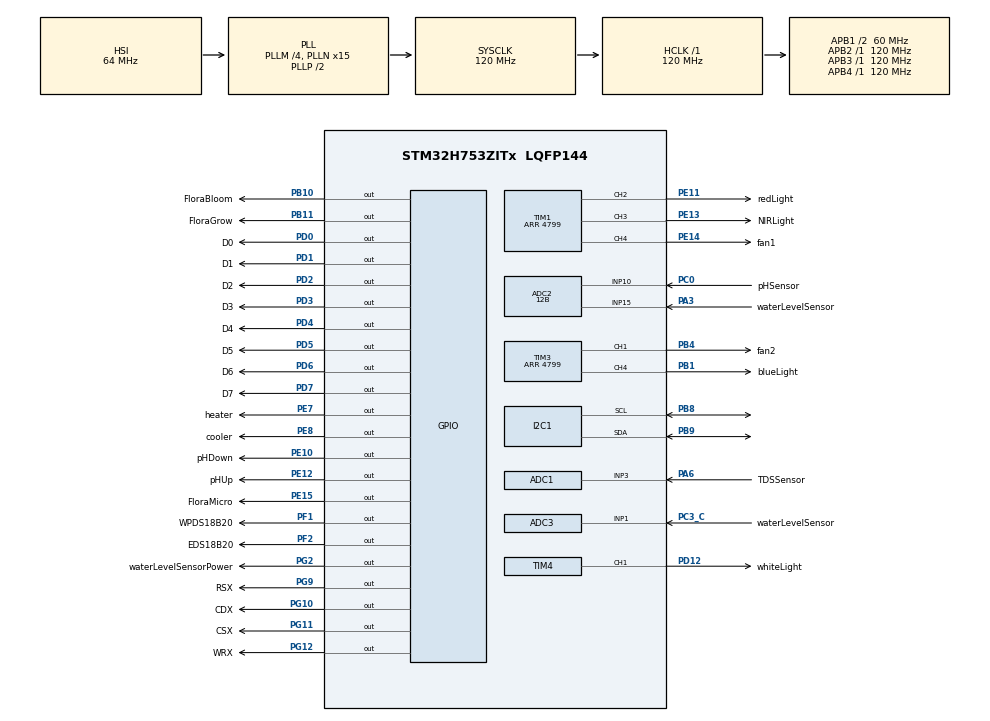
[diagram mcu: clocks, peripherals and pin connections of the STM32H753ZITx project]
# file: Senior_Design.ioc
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ADC1.Channel-1\#ChannelRegularConversion=ADC_CHANNEL_3
ADC1.ClockPrescaler=ADC_CLOCK_ASYNC_DIV4
ADC1.ClockPrescalerADC3=ADC_CLOCK_ASYNC_DIV4
ADC1.NbrOfConversionFlag=1
ADC1.OffsetNumber-1\#ChannelRegularConversion=ADC_OFFSET_NONE
ADC1.OffsetSignedSaturation-1\#ChannelRegularConversion=DISABLE
ADC1.Rank-1\#ChannelRegularConversion=1
ADC1.Resolution=ADC_RESOLUTION_12B
ADC1.SamplingTime-1\#ChannelRegularConversion=ADC_SAMPLETIME_1CYCLE_5
ADC1.master=1
ADC2.Channel-6\#ChannelRegularConversion=ADC_CHANNEL_10
ADC2.ClockPrescaler=ADC_CLOCK_ASYNC_DIV4
ADC2.ClockPrescalerADC3=ADC_CLOCK_ASYNC_DIV4
ADC2.NbrOfConversionFlag=1
ADC2.OffsetNumber-6\#ChannelRegularConversion=ADC_OFFSET_NONE
ADC2.OffsetSignedSaturation-6\#ChannelRegularConversion=DISABLE
ADC2.Rank-6\#ChannelRegularConversion=1
ADC2.Resolution=ADC_RESOLUTION_12B
ADC2.SamplingTime-6\#ChannelRegularConversion=ADC_SAMPLETIME_1CYCLE_5
ADC3.Channel-1\#ChannelRegularConversion=ADC_CHANNEL_1
ADC3.ClockPrescalerADC3=ADC_CLOCK_ASYNC_DIV4
ADC3.NbrOfConversionFlag=1
ADC3.OffsetNumber-1\#ChannelRegularConversion=ADC_OFFSET_NONE
ADC3.OffsetSignedSaturation-1\#ChannelRegularConversion=DISABLE
ADC3.Rank-1\#ChannelRegularConversion=1
ADC3.SamplingTime-1\#ChannelRegularConversion=ADC_SAMPLETIME_1CYCLE_5
CORTEX_M7.CPU_DCache=Disabled
CORTEX_M7.CPU_ICache=Disabled
CORTEX_M7.MPU_Control=__NULL
CORTEX_M7.default_mode_Activation=1
I2C1.Timing=0x107075B0
Mcu.Family=STM32H7
Mcu.Name=STM32H753ZITx
Mcu.Package=LQFP144
NUCLEO-H753ZI.BUTTON=1
NUCLEO-H753ZI.LD1=true
NUCLEO-H753ZI.LD2=true
NUCLEO-H753ZI.LD3=true
NUCLEO-H753ZI.VCP=true
NVIC.EXTI15_10_IRQn=true\:0\:0\:false\:false\:true\:false\:true\:true
NVIC.PriorityGroup=NVIC_PRIORITYGROUP_4
PA3.GPIO_Label=waterLevelSensor
PA3.Signal=ADCx_INP15
PA6.GPIO_Label=TDSSensor
PA6.Signal=ADCx_INP3
PB1.GPIO_Label=blueLight
PB1.Signal=S_TIM3_CH4
PB10.GPIO_Label=FloraBloom
PB10.Signal=GPIO_Output
PB11.GPIO_Label=FloraGrow
PB11.Signal=GPIO_Output
PB4\ (NJTRST).GPIO_Label=fan2
PB4\ (NJTRST).GPIO_ModeDefaultPP=GPIO_MODE_AF_OD
PB4\ (NJTRST).GPIO_PuPd=GPIO_PULLDOWN
PB4\ (NJTRST).Signal=S_TIM3_CH1
PB8.Mode=I2C
PB8.Signal=I2C1_SCL
PB9.Mode=I2C
PB9.Signal=I2C1_SDA
PC0.GPIO_Label=pHSensor
PC0.Signal=ADCx_INP10
PC14-OSC32_IN\ (OSC32_IN).Signal=RCC_OSC32_IN
PC15-OSC32_OUT\ (OSC32_OUT).Signal=RCC_OSC32_OUT
PC3_C.GPIO_Label=waterLevelSensor
PC3_C.Mode=IN1-Single-Ended
PC3_C.Signal=ADC3_INP1
PG9.GPIO_Label=RSX
PG9.Signal=GPIO_Output
PG10.GPIO_Label=CDX
PG10.Signal=GPIO_Output
PG11.GPIO_Label=CSX
PG11.Signal=GPIO_Output
PG12.GPIO_Label=WRX
PG12.Signal=GPIO_Output
PD0.GPIO_Label=D0
PD0.Signal=GPIO_Output
PD1.GPIO_Label=D1
PD1.Signal=GPIO_Output
PD12.GPIO_Label=whiteLight
PD12.Signal=S_TIM4_CH1
PD2.GPIO_Label=D2
PD2.Signal=GPIO_Output
PD3.GPIO_Label=D3
PD3.Signal=GPIO_Output
PD4.GPIO_Label=D4
PD4.Signal=GPIO_Output
PD5.GPIO_Label=D5
PD5.Signal=GPIO_Output
PD6.GPIO_Label=D6
PD6.Signal=GPIO_Output
PD7.GPIO_Label=D7
PD7.Signal=GPIO_Output
PD8.Signal=USART3_TX
PD9.Signal=USART3_RX
PE10.GPIO_Label=pHDown
PE10.Signal=GPIO_Output
PE11.GPIO_Label=redLight
PE11.Signal=S_TIM1_CH2
PE12.GPIO_Label=pHUp
PE12.Signal=GPIO_Output
PE13.GPIO_Label=NIRLight
PE13.Signal=S_TIM1_CH3
PE14.GPIO_Label=fan1
PE14.GPIO_ModeDefaultPP=GPIO_MODE_AF_OD
PE14.GPIO_PuPd=GPIO_PULLDOWN
PE14.Signal=S_TIM1_CH4
PE15.GPIO_Label=FloraMicro
PE15.Signal=GPIO_Output
PE7.GPIO_Label=heater
PE7.Signal=GPIO_Output
PE8.GPIO_Label=cooler
PE8.Signal=GPIO_Output
PF1.GPIO_Label=WPDS18B20
PF1.Signal=GPIO_Output
PF2.GPIO_Label=EDS18B20
PF2.Signal=GPIO_Output
PG2.GPIO_Label=waterLevelSensorPower
PG2.Signal=GPIO_Output
PH0-OSC_IN\ (PH0).Signal=RCC_OSC_IN
PH1-OSC_OUT\ (PH1).Signal=RCC_OSC_OUT
ProjectManager.HeapSize=0x200
ProjectManager.StackSize=0x400
ProjectManager.TargetToolchain=Makefile
RCC.ADCFreq_Value=80000000
RCC.APB1Freq_Value=60000000
RCC.APB2Freq_Value=120000000
RCC.APB3Freq_Value=120000000
RCC.APB4Freq_Value=120000000
RCC.CortexFreq_Value=120000000
RCC.D2PPRE1=RCC_APB1_DIV2
RCC.DIVM1=4
RCC.DIVM2=4
RCC.DIVN1=15
RCC.DIVN2=10
RCC.DIVQ1=4
RCC.HCLKFreq_Value=120000000
RCC.HSE_VALUE=8000000
RCC.PLL2FRACN=0
RCC.PLL3FRACN=0
RCC.PLLFRACN=0
RCC.PWR_Regulator_Voltage_Scale=PWR_REGULATOR_VOLTAGE_SCALE2
RCC.SYSCLKFreq_VALUE=120000000
RCC.SYSCLKSource=RCC_SYSCLKSOURCE_PLLCLK
RCC.USBFreq_Value=60000000
SH.ADCx_INP10.0=ADC2_INP10,IN10-Single-Ended
SH.ADCx_INP15.0=ADC2_INP15,IN15-Single-Ended
SH.ADCx_INP3.0=ADC1_INP3,IN3-Single-Ended
SH.S_TIM1_CH2.0=TIM1_CH2,PWM Generation2 CH2
SH.S_TIM1_CH3.0=TIM1_CH3,PWM Generation3 CH3
SH.S_TIM1_CH4.0=TIM1_CH4,PWM Generation4 CH4
SH.S_TIM3_CH1.0=TIM3_CH1,PWM Generation1 CH1
SH.S_TIM3_CH4.0=TIM3_CH4,PWM Generation4 CH4
SH.S_TIM4_CH1.0=TIM4_CH1,PWM Generation1 CH1
TIM1.Channel-PWM\ Generation2\ CH2=TIM_CHANNEL_2
TIM1.Channel-PWM\ Generation3\ CH3=TIM_CHANNEL_3
TIM1.Channel-PWM\ Generation4\ CH4=TIM_CHANNEL_4
TIM1.Period=4799
TIM2.Period=0xFFFFFFFF
TIM2.Prescaler=119
TIM3.Channel-PWM\ Generation1\ CH1=TIM_CHANNEL_1
TIM3.Channel-PWM\ Generation4\ CH4=TIM_CHANNEL_4
TIM3.Period=4799
TIM4.Channel-PWM\ Generation1\ CH1=TIM_CHANNEL_1
TIM4.Period=4799
VP_MEMORYMAP_VS_MEMORYMAP.Mode=CurAppReg
VP_NUCLEO-H753ZI_VS_BSP_COMMON.Mode=COMMON
VP_TIM1_VS_ClockSourceINT.Mode=Internal
VP_TIM2_VS_ClockSourceINT.Mode=Internal
VP_TIM3_VS_ClockSourceINT.Mode=Internal
board=NUCLEO-H753ZI

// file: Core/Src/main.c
/* USER CODE BEGIN Header */
/**
 ******************************************************************************
 * @file           : main.c
 * @brief          : Main program body
 ******************************************************************************
 * @attention
 *
 * Copyright (c) 2026 STMicroelectronics.
 * All rights reserved.
 *
 * This software is licensed under terms that can be found in the LICENSE file
 * in the root directory of this software component.
 * If no LICENSE file comes with this software, it is provided AS-IS.
 *
 ******************************************************************************
 */
/* USER CODE END Header */
#include "main.h"

/* USER CODE BEGIN Includes */
#include "DS18B20.h"
#include "DS3231s.h"
#include "GUI.h"
#include "NutrientDose.h"
#include "PHDose.h"
#include "PeristalticPump.h"
#include "TDS_Sensor_Driver.h"
#include "climateControl.h"
#include "fans.h"
#include "growControl.h"
#include "homeScreen.h"
#include "lights.h"
#include "pH_Sensor_Driver.h"
#include "plantPersist.h"
#include "plantProfiles.h"
#include "plantSelectionScreen.h"
#include "settingsScreen.h"
#include "src/misc/lv_timer.h"
#include "src/widgets/label/lv_label.h"
#include "stm32h753xx.h"
#include "stm32h7xx.h"
#include "stm32h7xx_hal.h"
#include "stm32h7xx_hal_adc.h"
#include "stm32h7xx_hal_def.h"
#include "stm32h7xx_hal_gpio.h"
#include "stm32h7xx_hal_tim.h"
#include "waterLevelSensor.h"
#include <stdint.h>
#include <stdio.h>
#include <stdlib.h>

/* USER CODE END Includes */

/* USER CODE BEGIN PD */
#define USING_SCREEN 0
#define USING_DEBUG 1
/* USER CODE END PD */

COM_InitTypeDef BspCOMInit;
ADC_HandleTypeDef hadc1;
ADC_HandleTypeDef hadc2;
ADC_HandleTypeDef hadc3;

I2C_HandleTypeDef hi2c1;

TIM_HandleTypeDef htim1;
TIM_HandleTypeDef htim2;
TIM_HandleTypeDef htim3;
TIM_HandleTypeDef htim4;

/* USER CODE BEGIN PV */
struct RTC_DS3231s clock = {0};
struct DS18B20 waterTempSensor = {0};
struct DS18B20 enclosureTempSensor = {0};
struct DS18B20_Async asyncWaterSensor = {0};
struct DS18B20_Async asyncEnclosureSensor = {0};
struct fan fan0 = {0};
struct fan fan1 = {0};
struct maintainableDevices devices = {0};
struct TDS TDSSensor = {0};
struct pH PHSensor = {0};
struct Pump pump = {0};
struct waterLevelSensor waterLevelSensor = {0};
struct cooler cooler = {0};
/* USER CODE END PV */

void SystemClock_Config(void);
void PeriphCommonClock_Config(void);
static void MX_GPIO_Init(void);
static void MX_ADC1_Init(void);
static void MX_I2C1_Init(void);
static void MX_TIM2_Init(void);
static void MX_TIM1_Init(void);
static void MX_ADC2_Init(void);
static void MX_ADC3_Init(void);
static void MX_TIM3_Init(void);
static void MX_TIM4_Init(void);

/* USER CODE BEGIN 0 */

void enclosureTempRegulationDemo(struct DS18B20 sensor, struct fan fan) {
  float temp = 0;
  startConversion(sensor);
  HAL_Delay(750);
  readTemperature(sensor, &temp);
  temp = temp * 9 / 5 + 32;
  if (temp > 70) {
    printf("Temp %f is greater than 70 F, executing cooling\r\n", temp);
    runFan(&fan, MED);
    HAL_Delay(10000);
    stopFan(&fan);
    return;
  }
  printf("Temp %f is less than or equal to 70 F, no cooling needed\r\n", temp);
}

void reservoirTempRegulationDemo(struct DS18B20 sensor, struct cooler cooler) {
  float temp = 0;
  startConversion(sensor);
  HAL_Delay(750);
  readTemperature(sensor, &temp);
  temp = temp * 9 / 5 + 32;
  if (temp > 70) {
    printf("Temp %f is greater than 70 F, executing cooling\r\n", temp);
    turnOnCooler(&cooler);
    HAL_Delay(10000);
    turnOffCooler(&cooler);
    return;
  }
  printf("Temp %f is less than or equal to 70 F, no cooling needed\r\n", temp);
}

/* USER CODE END 0 */

int main(void) {

  /* MCU Configuration--------------------------------------------------------*/

  /* Reset of all peripherals, Initializes the Flash interface and the Systick.
   */
  HAL_Init();

  /* Configure the system clock */
  SystemClock_Config();

  /* Configure the peripherals common clocks */
  PeriphCommonClock_Config();

  /* Initialize all configured peripherals */
  MX_GPIO_Init();
  MX_ADC1_Init();
  MX_I2C1_Init();
  MX_TIM2_Init();
  MX_TIM1_Init();
  MX_ADC2_Init();
  MX_ADC3_Init();
  MX_TIM3_Init();
  MX_TIM4_Init();
  /* USER CODE BEGIN 2 */

  // update screen 5 times a second to avoid flickering value updates
  const uint32_t screenRefresh = 200;

  float waterTemp = 0;
  float enclosureTemp = 0;
  uint32_t waterLevel = 0;
  uint8_t time[3];
  uint8_t currentDay = 0;
  uint8_t waterTempValid = 0;
  uint8_t enclosureTempValid = 0;

  createDS18B20Sensor(&waterTempSensor, WPDS18B20_GPIO_Port, WPDS18B20_Pin);
  createDS18B20Sensor(&enclosureTempSensor, EDS18B20_GPIO_Port, EDS18B20_Pin);

  createDS18B20Async(&asyncWaterSensor, waterTempSensor, 750);
  createDS18B20Async(&asyncEnclosureSensor, enclosureTempSensor, 750);

  createFan(&fan0, &htim1, TIM_CHANNEL_4);
  createFan(&fan1, &htim3, TIM_CHANNEL_1);

  createWaterLevelSensor(&waterLevelSensor, waterLevelSensorPower_GPIO_Port,
                         waterLevelSensorPower_Pin, &hadc3);

  createCooler(&cooler, cooler_GPIO_Port, cooler_Pin);

  /////////////////TDS, PH, PUMPS//////////////////////
  TDSSensor = TDS_init("TDS");
  PHSensor = pH_init("PH");
  PHDose_init(&PHSensor);
  nutrientDose_init(&TDSSensor);

  devices.fan0 = &fan0;
  devices.fan1 = &fan1;
  devices.waterTempSensor = &asyncWaterSensor;
  devices.enclosureTempSensor = &asyncEnclosureSensor;
  runFan(&fan1, OFF);
  stopFan(&fan1);
  runFan(&fan0, OFF);
  stopFan(&fan0);

  Lights_Init();
  Lights_SetWhite(100);

  growControl_init(&fan0, &fan1, &cooler, &TDSSensor, &PHSensor);

  /* USER CODE END 2 */

  /* Initialize leds */
  BSP_LED_Init(LED_GREEN);
  BSP_LED_Init(LED_YELLOW);
  BSP_LED_Init(LED_RED);

  /* Initialize USER push-button, will be used to trigger an interrupt each time
   * it's pressed.*/
  BSP_PB_Init(BUTTON_USER, BUTTON_MODE_EXTI);

  /* Initialize COM1 port (115200, 8 bits (7-bit data + 1 stop bit), no parity
   */
  BspCOMInit.BaudRate = 115200;
  BspCOMInit.WordLength = COM_WORDLENGTH_8B;
  BspCOMInit.StopBits = COM_STOPBITS_1;
  BspCOMInit.Parity = COM_PARITY_NONE;
  BspCOMInit.HwFlowCtl = COM_HWCONTROL_NONE;
  if (BSP_COM_Init(COM1, &BspCOMInit) != BSP_ERROR_NONE) {
    Error_Handler();
  }

  /* Infinite loop */
  /* USER CODE BEGIN WHILE */

#if USING_SCREEN
  uint32_t currentTick = 0;
  uint32_t lastScreenRefresh = 0;
  initScreen();
  uiInitScreens();
#endif

  /* Restore plant selection + growth day after power loss */
  {
    uint32_t savedIndex = PLANT_PERSIST_NONE;
    uint32_t savedDays = 0;
    if (plantPersist_load(&savedIndex, &savedDays)) {
      const struct plantProfile *p = plantSelection_profileAt(savedIndex);
      if (p) {
        currentPlantProfile = p;
        growthDays = (savedDays == 0) ? 1 : savedDays;
#if USING_SCREEN
        updatePlantProfileLabels(currentPlantProfile);
        plantSelection_refreshStyles();
#endif
        growControl_setPlant(currentPlantProfile, growthDays);
      }
    }
  }

#if USING_SCREEN
  /* Seed day-of-week so the first loop does not falsely roll growthDays */
  readTimeData(time);
  parseTime(&clock, time);
  currentDay = clock.day;
#endif
  while (1) {
    /* USER CODE END WHILE */

    /* USER CODE BEGIN 3 */
#if USING_DEBUG
    int32_t cmd = 0;
    float temp = 0;

    printf("Choose Command to Execute:\r\n");
    printf("\r\n-- Lights --\r\n");
    printf("1  - Turn on white light\r\n");
    printf("2  - Turn off white light\r\n");
    printf("3  - Turn on red light\r\n");
    printf("4  - Turn off red light\r\n");
    printf("5  - Turn on blue light\r\n");
    printf("6  - Turn off blue light\r\n");

    printf("\r\n-- Sensor Readings --\r\n");
    printf("10 - Read EC and pH\r\n");
    printf("11 - Read water level\r\n");
    printf("12 - Read enclosure temperature\r\n");
    printf("13 - Read water temperature\r\n");

    printf("\r\n-- Plant --\r\n");
    printf("14 - Read active plant profile\r\n");
    printf("15 - Read persisted plant from Flash\r\n");
    printf("16 - List plant profiles\r\n");
    printf("17 - Select plant by index (then saves to Flash)\r\n");

    printf("\r\n-- Fans / Cooling / Pumps --\r\n");
    printf("20 - Turn on fans\r\n");
    printf("21 - Turn off fans\r\n");
    printf("22 - Turn on cooler\r\n");
    printf("23 - Turn off cooler\r\n");
    printf("26 - Turn on pH up pump\r\n");
    printf("27 - Turn off pH up pump\r\n");
    printf("28 - Turn on pH down pump\r\n");
    printf("29 - Turn off pH down pump\r\n");
    printf("30 - Turn on FloraBloom pump\r\n");
    printf("31 - Turn off FloraBloom pump\r\n");
    printf("32 - Turn on FloraMicro pump\r\n");
    printf("33 - Turn off FloraMicro pump\r\n");
    printf("34 - Turn on FloraGrow pump\r\n");
    printf("35 - Turn off FloraGrow pump\r\n");

    printf("\r\n-- Demos --\r\n");
    printf("36 - Run nutrient dosing demo\r\n");
    printf("37 - Run pH balancing demo\r\n");
    printf("38 - Run enclosure temperature regulation demo\r\n");
    printf("39 - Run reservoir temperature regulation demo\r\n");

    setvbuf(stdin, NULL, _IONBF, 0);
    scanf("%d", &cmd); // scanf bad but just for demo
    puts("");

    switch (cmd) {
    case 1:
      printf("White Light On\r\n");
      Lights_SetWhite(100);
      break;

    case 2:
      printf("White Light Off\r\n");
      Lights_SetWhite(0);
      break;

    case 3:
      printf("Red Light On\r\n");
      Lights_SetRed(100);
      Lights_SetNIR(100);
      break;

    case 4:
      printf("Red Light Off\r\n");
      Lights_SetRed(0);
      Lights_SetNIR(0);
      break;

    case 5:
      printf("Blue Light On\r\n");
      Lights_SetBlue(100);
      break;

    case 6:
      printf("Blue Light Off\r\n");
      Lights_SetBlue(0);
      break;

    case 10:
      readTDS(&TDSSensor);
      readpH(&PHSensor);
      printf("EC: %f\r\npH: %f\r\n", TDSSensor.ECVal, PHSensor.pHVal);
      break;

    case 11:
      if (readWaterLevel(&waterLevelSensor) < 3000) {
        printf("Water Level: Refill\r\n");
      } else {
        printf("Water Level: Good\r\n");
      }
      break;

    case 12:
      startConversion(enclosureTempSensor);
      HAL_Delay(750);
      readTemperature(enclosureTempSensor, &temp);
      printf("Enclosure Temp: %f\r\n", temp * 9 / 5 + 32);
      break;

    case 13:
      startConversion(waterTempSensor);
      HAL_Delay(750);
      readTemperature(waterTempSensor, &temp);
      printf("Water Temp: %f\r\n", temp * 9 / 5 + 32);
      break;

    case 14: {
      const struct plantProfile *p = currentPlantProfile;
      if (!p)
        p = growControl_getPlant();
      if (!p) {
        printf("No plant selected\r\n");
        break;
      }
      enum growthStage st = plant_getStage(p, growthDays ? growthDays : 1);
      uint8_t blue = 0, red = 0, nir = 0;
      plant_getStageLights(p, st, &blue, &red, &nir);
      printf("Plant: %s\r\n", p->name);
      printf("Growth day: %lu / %lu\r\n", (unsigned long)growthDays,
             (unsigned long)p->growthDurationDays);
      printf("Stage: %s\r\n", getStageName(st));
      printf("Photoperiod: %u min\r\n", p->lightOnMinutes);
      printf("Targets: encl %.1f C, water %.1f C\r\n", p->enclosureTemp,
             p->waterTemp);
      printf("Lights WRBN: %u/%u/%u/%u\r\n", p->whiteLightPercentage, red, blue,
             nir);
      printf("GrowControl state: %d  lightsOn: %u\r\n",
             (int)growControl_getState(), growControl_lightsAreOn());
      break;
    }

    case 15: {
      uint32_t savedIndex = PLANT_PERSIST_NONE;
      uint32_t savedDays = 0;
      if (!plantPersist_load(&savedIndex, &savedDays)) {
        printf("No valid plant record in Flash\r\n");
        break;
      }
      const struct plantProfile *p = plantSelection_profileAt(savedIndex);
      printf("Flash plant index: %lu\r\n", (unsigned long)savedIndex);
      printf("Flash growth days: %lu\r\n", (unsigned long)savedDays);
      if (p) {
        printf("Flash plant name: %s\r\n", p->name);
        printf("Flash duration: %lu days\r\n",
               (unsigned long)p->growthDurationDays);
        enum growthStage st =
            plant_getStage(p, savedDays ? savedDays : 1);
        printf("Flash stage: %s\r\n", getStageName(st));
      } else {
        printf("Flash plant name: (invalid index)\r\n");
      }
      break;
    }

    case 16: {
      printf("Available plants:\r\n");
      for (uint32_t i = 0;; ++i) {
        const struct plantProfile *p = plantSelection_profileAt(i);
        if (!p)
          break;
        printf("  %lu: %s (%lu days, light %u min)\r\n", (unsigned long)i,
               p->name, (unsigned long)p->growthDurationDays, p->lightOnMinutes);
      }
      break;
    }

    case 17: {
      int idx = -1;
      printf("Enter plant index: ");
      setvbuf(stdin, NULL, _IONBF, 0);
      scanf("%d", &idx);
      puts("");
      const struct plantProfile *p =
          plantSelection_profileAt((uint32_t)idx);
      if (!p || idx < 0) {
        printf("Invalid plant index\r\n");
        break;
      }
      currentPlantProfile = p;
      growthDays = 1;
      growControl_setPlant(currentPlantProfile, growthDays);
      plantPersist_save((uint32_t)idx, growthDays);
#if USING_SCREEN
      updatePlantProfileLabels(currentPlantProfile);
      plantSelection_refreshStyles();
#endif
      printf("Selected: %s (day %lu) — saved to Flash\r\n", p->name,
             (unsigned long)growthDays);
      break;
    }

    case 20:
      printf("Fans On\r\n");
      runFan(&fan0, HIGH);
      runFan(&fan1, HIGH);
      break;

    case 21:
      printf("Fans Off\r\n");
      stopFan(&fan0);
      stopFan(&fan1);
      break;

    case 22:
      printf("Cooler On\r\n");
      turnOnCooler(&cooler);
      break;

    case 23:
      printf("Cooler Off\r\n");
      turnOffCooler(&cooler);
      break;

    case 26:
      printf("pH Up Pump On\r\n");
      GPIOE->BSRR = GPIO_PIN_12;
      break;

    case 27:
      printf("pH Up Pump Off\r\n");
      GPIOE->BSRR = (GPIO_PIN_12 << 16);
      break;

    case 28:
      printf("pH Down Pump On\r\n");
      GPIOE->BSRR = GPIO_PIN_10;
      break;

    case 29:
      printf("pH Down Pump Off\r\n");
      GPIOE->BSRR = (GPIO_PIN_10 << 16);
      break;

    case 30:
      printf("FloraBloom Pump On\r\n");
      GPIOB->BSRR = GPIO_PIN_10;
      break;

    case 31:
      printf("FloraBloom Pump Off\r\n");
      GPIOB->BSRR = (GPIO_PIN_10 << 16);
      break;

    case 32:
      printf("FloraMicro Pump On\r\n");
      GPIOE->BSRR = GPIO_PIN_15;
      break;

    case 33:
      printf("FloraMicro Pump Off\r\n");
      GPIOE->BSRR = (GPIO_PIN_15 << 16);
      break;

    case 34:
      printf("FloraGrow Pump On\r\n");
      GPIOB->BSRR = GPIO_PIN_11;
      break;

    case 35:
      printf("FloraGrow Pump Off\r\n");
      GPIOB->BSRR = (GPIO_PIN_11 << 16);
      break;

    case 36:
      printf("Running nutrient dosing demo\r\n");
      while (getState() != STATE_DONE) {
        nutrientDoseUpdate();
        nutrientDose_Demo(&TDSSensor);
      }
      setState(STATE_IDLE);
      break;

    case 37:
      printf("Running pH balancing demo\r\n");
      readpH(&PHSensor);
      while (PHSensor.pHVal < PH_LOW_LIMIT || PHSensor.pHVal > PH_HIGH_LIMIT) {
        PHDoseUpdate();
        PHDose(&PHSensor);
      }
      break;

    case 38:
      printf("Running enclosure temperature regulation demo\r\n");
      enclosureTempRegulationDemo(enclosureTempSensor, fan0);
      break;

    case 39:
      printf("Running reservoir temperature regulation demo\r\n");
      reservoirTempRegulationDemo(waterTempSensor, cooler);
      break;

    default:
      printf("Invalid command\r\n");
      break;
    }
    HAL_Delay(1000);
#endif

#if USING_SCREEN
    currentTick = HAL_GetTick();
    // increments the counter each day
    // could use intterupt alarm, but kind of overkill
    readTimeData(time);
    parseTime(&clock, time);
    if (currentDay != clock.day) {
      currentDay = clock.day;
      lv_label_set_text_fmt(growingDaysLabel, "Day: %lu",
                            (unsigned long)++growthDays);
      if (currentPlantProfile) {
        plantPersist_save(plantSelection_indexOf(currentPlantProfile),
                          growthDays);
        /* Refresh stage/light labels when the day rolls */
        enum growthStage st = plant_getStage(currentPlantProfile, growthDays);
        uint8_t blue = 0, red = 0, nir = 0;
        plant_getStageLights(currentPlantProfile, st, &blue, &red, &nir);
        lv_label_set_text_fmt(plantStageLabel, "Stage: %s", getStageName(st));
        lv_label_set_text_fmt(plantRGBLabel, "WRBN %u/%u/%u/%u",
                              currentPlantProfile->whiteLightPercentage, red,
                              blue, nir);
      }
    }

    /* Water/enclosure temp: polled every loop (~2 ms + LVGL); DS18B20 async
     * ~750 ms */
    if (asyncTemperatureReading(&asyncWaterSensor, &waterTemp) &&
        asyncWaterSensor.validReading) {
      waterTempValid = 1;
      if (useFahrenheit) {
        lv_label_set_text_fmt(waterTempLabel, "Water: %.1f F",
                              waterTemp * 9 / 5.0f + 32);
      } else {
        lv_label_set_text_fmt(waterTempLabel, "Water: %.1f C", waterTemp);
      }
    }
    if (asyncTemperatureReading(&asyncEnclosureSensor, &enclosureTemp) &&
        asyncEnclosureSensor.validReading) {
      enclosureTempValid = 1;
      if (useFahrenheit) {
        lv_label_set_text_fmt(enclosureTempLabel, "Encl: %.1f F",
                              enclosureTemp * 9 / 5.0f + 32);
      } else {
        lv_label_set_text_fmt(enclosureTempLabel, "Encl: %.1f C",
                              enclosureTemp);
      }
    }
    /* EC / pH / water level: every screenRefresh (200 ms) */
    if (currentTick - lastScreenRefresh >= screenRefresh) {
      lastScreenRefresh = currentTick;
      readTDS(&TDSSensor);
      lv_label_set_text_fmt(TDSLabel, "ECS: %.1f mS/cm", TDSSensor.ECVal);

      readpH(&PHSensor);
      lv_label_set_text_fmt(pHLabel, "pH: %.2f", PHSensor.pHVal);

      waterLevel = readWaterLevel(&waterLevelSensor);
      if (waterLevel < 3000) {
        lv_label_set_text_fmt(waterLevelLabel, "Water Lvl: Refill");
      } else {
        lv_label_set_text_fmt(waterLevelLabel, "Water Lvl: Good");
      }
    }

    GrowSensorSample sample = {
        .waterTempC = waterTemp,
        .enclosureTempC = enclosureTemp,
        .waterTempValid = waterTempValid,
        .enclosureTempValid = enclosureTempValid,
        .pH = PHSensor.pHVal,
        .EC = TDSSensor.ECVal,
        .waterLevelRaw = waterLevel,
        .hour = clock.hours,
        .minute = clock.minutes,
        .growthDay = growthDays,
    };
    /* growControl: lights/climate every 1 s, chemistry every 5 s (dosers each
     * call) */
    growControl_update(&sample);

    lv_timer_handler();
    HAL_Delay(2);
#endif /* ifdef USING_SCREEN */
  }
  /* USER CODE END 3 */
}

void SystemClock_Config(void) {
  RCC_OscInitTypeDef RCC_OscInitStruct = {0};
  RCC_ClkInitTypeDef RCC_ClkInitStruct = {0};

  /** Supply configuration update enable
   */
  HAL_PWREx_ConfigSupply(PWR_LDO_SUPPLY);

  /** Configure the main internal regulator output voltage
   */
  __HAL_PWR_VOLTAGESCALING_CONFIG(PWR_REGULATOR_VOLTAGE_SCALE2);

  while (!__HAL_PWR_GET_FLAG(PWR_FLAG_VOSRDY)) {
  }

  /** Initializes the RCC Oscillators according to the specified parameters
   * in the RCC_OscInitTypeDef structure.
   */
  RCC_OscInitStruct.OscillatorType = RCC_OSCILLATORTYPE_HSI;
  RCC_OscInitStruct.HSIState = RCC_HSI_DIV1;
  RCC_OscInitStruct.HSICalibrationValue = RCC_HSICALIBRATION_DEFAULT;
  RCC_OscInitStruct.PLL.PLLState = RCC_PLL_ON;
  RCC_OscInitStruct.PLL.PLLSource = RCC_PLLSOURCE_HSI;
  RCC_OscInitStruct.PLL.PLLM = 4;
  RCC_OscInitStruct.PLL.PLLN = 15;
  RCC_OscInitStruct.PLL.PLLP = 2;
  RCC_OscInitStruct.PLL.PLLQ = 4;
  RCC_OscInitStruct.PLL.PLLR = 2;
  RCC_OscInitStruct.PLL.PLLRGE = RCC_PLL1VCIRANGE_3;
  RCC_OscInitStruct.PLL.PLLVCOSEL = RCC_PLL1VCOWIDE;
  RCC_OscInitStruct.PLL.PLLFRACN = 0;
  if (HAL_RCC_OscConfig(&RCC_OscInitStruct) != HAL_OK) {
    Error_Handler();
  }

  /** Initializes the CPU, AHB and APB buses clocks
   */
  RCC_ClkInitStruct.ClockType = RCC_CLOCKTYPE_HCLK | RCC_CLOCKTYPE_SYSCLK |
                                RCC_CLOCKTYPE_PCLK1 | RCC_CLOCKTYPE_PCLK2 |
                                RCC_CLOCKTYPE_D3PCLK1 | RCC_CLOCKTYPE_D1PCLK1;
  RCC_ClkInitStruct.SYSCLKSource = RCC_SYSCLKSOURCE_PLLCLK;
  RCC_ClkInitStruct.SYSCLKDivider = RCC_SYSCLK_DIV1;
  RCC_ClkInitStruct.AHBCLKDivider = RCC_HCLK_DIV1;
  RCC_ClkInitStruct.APB3CLKDivider = RCC_APB3_DIV1;
  RCC_ClkInitStruct.APB1CLKDivider = RCC_APB1_DIV2;
  RCC_ClkInitStruct.APB2CLKDivider = RCC_APB2_DIV1;
  RCC_ClkInitStruct.APB4CLKDivider = RCC_APB4_DIV1;

  if (HAL_RCC_ClockConfig(&RCC_ClkInitStruct, FLASH_LATENCY_2) != HAL_OK) {
    Error_Handler();
  }
}

void PeriphCommonClock_Config(void) {
  RCC_PeriphCLKInitTypeDef PeriphClkInitStruct = {0};

  /** Initializes the peripherals clock
   */
  PeriphClkInitStruct.PeriphClockSelection = RCC_PERIPHCLK_ADC;
  PeriphClkInitStruct.PLL2.PLL2M = 4;
  PeriphClkInitStruct.PLL2.PLL2N = 10;
  PeriphClkInitStruct.PLL2.PLL2P = 2;
  PeriphClkInitStruct.PLL2.PLL2Q = 2;
  PeriphClkInitStruct.PLL2.PLL2R = 2;
  PeriphClkInitStruct.PLL2.PLL2RGE = RCC_PLL2VCIRANGE_3;
  PeriphClkInitStruct.PLL2.PLL2VCOSEL = RCC_PLL2VCOMEDIUM;
  PeriphClkInitStruct.PLL2.PLL2FRACN = 0;
  PeriphClkInitStruct.AdcClockSelection = RCC_ADCCLKSOURCE_PLL2;
  if (HAL_RCCEx_PeriphCLKConfig(&PeriphClkInitStruct) != HAL_OK) {
    Error_Handler();
  }
}

static void MX_ADC1_Init(void) {

  ADC_MultiModeTypeDef multimode = {0};
  ADC_ChannelConfTypeDef sConfig = {0};

  /** Common config
   */
  hadc1.Instance = ADC1;
  hadc1.Init.ClockPrescaler = ADC_CLOCK_ASYNC_DIV4;
  hadc1.Init.Resolution = ADC_RESOLUTION_12B;
  hadc1.Init.ScanConvMode = ADC_SCAN_DISABLE;
  hadc1.Init.EOCSelection = ADC_EOC_SINGLE_CONV;
  hadc1.Init.LowPowerAutoWait = DISABLE;
  hadc1.Init.ContinuousConvMode = DISABLE;
  hadc1.Init.NbrOfConversion = 1;
  hadc1.Init.DiscontinuousConvMode = DISABLE;
  hadc1.Init.ExternalTrigConv = ADC_SOFTWARE_START;
  hadc1.Init.ExternalTrigConvEdge = ADC_EXTERNALTRIGCONVEDGE_NONE;
  hadc1.Init.ConversionDataManagement = ADC_CONVERSIONDATA_DR;
  hadc1.Init.Overrun = ADC_OVR_DATA_PRESERVED;
  hadc1.Init.LeftBitShift = ADC_LEFTBITSHIFT_NONE;
  hadc1.Init.OversamplingMode = DISABLE;
  hadc1.Init.Oversampling.Ratio = 1;
  if (HAL_ADC_Init(&hadc1) != HAL_OK) {
    Error_Handler();
  }

  /** Configure the ADC multi-mode
   */
  multimode.Mode = ADC_MODE_INDEPENDENT;
  if (HAL_ADCEx_MultiModeConfigChannel(&hadc1, &multimode) != HAL_OK) {
    Error_Handler();
  }

  /** Configure Regular Channel
   */
  sConfig.Channel = ADC_CHANNEL_3;
  sConfig.Rank = ADC_REGULAR_RANK_1;
  sConfig.SamplingTime = ADC_SAMPLETIME_1CYCLE_5;
  sConfig.SingleDiff = ADC_SINGLE_ENDED;
  sConfig.OffsetNumber = ADC_OFFSET_NONE;
  sConfig.Offset = 0;
  sConfig.OffsetSignedSaturation = DISABLE;
  if (HAL_ADC_ConfigChannel(&hadc1, &sConfig) != HAL_OK) {
    Error_Handler();
  }
}

static void MX_ADC2_Init(void) {

  ADC_ChannelConfTypeDef sConfig = {0};

  /** Common config
   */
  hadc2.Instance = ADC2;
  hadc2.Init.ClockPrescaler = ADC_CLOCK_ASYNC_DIV4;
  hadc2.Init.Resolution = ADC_RESOLUTION_12B;
  hadc2.Init.ScanConvMode = ADC_SCAN_DISABLE;
  hadc2.Init.EOCSelection = ADC_EOC_SINGLE_CONV;
  hadc2.Init.LowPowerAutoWait = DISABLE;
  hadc2.Init.ContinuousConvMode = DISABLE;
  hadc2.Init.NbrOfConversion = 1;
  hadc2.Init.DiscontinuousConvMode = DISABLE;
  hadc2.Init.ExternalTrigConv = ADC_SOFTWARE_START;
  hadc2.Init.ExternalTrigConvEdge = ADC_EXTERNALTRIGCONVEDGE_NONE;
  hadc2.Init.ConversionDataManagement = ADC_CONVERSIONDATA_DR;
  hadc2.Init.Overrun = ADC_OVR_DATA_PRESERVED;
  hadc2.Init.LeftBitShift = ADC_LEFTBITSHIFT_NONE;
  hadc2.Init.OversamplingMode = DISABLE;
  hadc2.Init.Oversampling.Ratio = 1;
  if (HAL_ADC_Init(&hadc2) != HAL_OK) {
    Error_Handler();
  }

  /** Configure Regular Channel
   */
  sConfig.Channel = ADC_CHANNEL_10;
  sConfig.Rank = ADC_REGULAR_RANK_1;
  sConfig.SamplingTime = ADC_SAMPLETIME_1CYCLE_5;
  sConfig.SingleDiff = ADC_SINGLE_ENDED;
  sConfig.OffsetNumber = ADC_OFFSET_NONE;
  sConfig.Offset = 0;
  sConfig.OffsetSignedSaturation = DISABLE;
  if (HAL_ADC_ConfigChannel(&hadc2, &sConfig) != HAL_OK) {
    Error_Handler();
  }
}

static void MX_ADC3_Init(void) {

  ADC_ChannelConfTypeDef sConfig = {0};

  /** Common config
   */
  hadc3.Instance = ADC3;
  hadc3.Init.Resolution = ADC_RESOLUTION_16B;
  hadc3.Init.ScanConvMode = ADC_SCAN_DISABLE;
  hadc3.Init.EOCSelection = ADC_EOC_SINGLE_CONV;
  hadc3.Init.LowPowerAutoWait = DISABLE;
  hadc3.Init.ContinuousConvMode = DISABLE;
  hadc3.Init.NbrOfConversion = 1;
  hadc3.Init.DiscontinuousConvMode = DISABLE;
  hadc3.Init.ExternalTrigConv = ADC_SOFTWARE_START;
  hadc3.Init.ExternalTrigConvEdge = ADC_EXTERNALTRIGCONVEDGE_NONE;
  hadc3.Init.ConversionDataManagement = ADC_CONVERSIONDATA_DR;
  hadc3.Init.Overrun = ADC_OVR_DATA_PRESERVED;
  hadc3.Init.LeftBitShift = ADC_LEFTBITSHIFT_NONE;
  hadc3.Init.OversamplingMode = DISABLE;
  hadc3.Init.Oversampling.Ratio = 1;
  if (HAL_ADC_Init(&hadc3) != HAL_OK) {
    Error_Handler();
  }

  /** Configure Regular Channel
   */
  sConfig.Channel = ADC_CHANNEL_1;
  sConfig.Rank = ADC_REGULAR_RANK_1;
  sConfig.SamplingTime = ADC_SAMPLETIME_1CYCLE_5;
  sConfig.SingleDiff = ADC_SINGLE_ENDED;
  sConfig.OffsetNumber = ADC_OFFSET_NONE;
  sConfig.Offset = 0;
  sConfig.OffsetSignedSaturation = DISABLE;
  if (HAL_ADC_ConfigChannel(&hadc3, &sConfig) != HAL_OK) {
    Error_Handler();
  }
}

static void MX_I2C1_Init(void) {

  hi2c1.Instance = I2C1;
  hi2c1.Init.Timing = 0x107075B0;
  hi2c1.Init.OwnAddress1 = 0;
  hi2c1.Init.AddressingMode = I2C_ADDRESSINGMODE_7BIT;
  hi2c1.Init.DualAddressMode = I2C_DUALADDRESS_DISABLE;
  hi2c1.Init.OwnAddress2 = 0;
  hi2c1.Init.OwnAddress2Masks = I2C_OA2_NOMASK;
  hi2c1.Init.GeneralCallMode = I2C_GENERALCALL_DISABLE;
  hi2c1.Init.NoStretchMode = I2C_NOSTRETCH_DISABLE;
  if (HAL_I2C_Init(&hi2c1) != HAL_OK) {
    Error_Handler();
  }

  /** Configure Analogue filter
   */
  if (HAL_I2CEx_ConfigAnalogFilter(&hi2c1, I2C_ANALOGFILTER_ENABLE) != HAL_OK) {
    Error_Handler();
  }

  /** Configure Digital filter
   */
  if (HAL_I2CEx_ConfigDigitalFilter(&hi2c1, 0) != HAL_OK) {
    Error_Handler();
  }
}

static void MX_TIM1_Init(void) {

  TIM_ClockConfigTypeDef sClockSourceConfig = {0};
  TIM_MasterConfigTypeDef sMasterConfig = {0};
  TIM_OC_InitTypeDef sConfigOC = {0};
  TIM_BreakDeadTimeConfigTypeDef sBreakDeadTimeConfig = {0};

  htim1.Instance = TIM1;
  htim1.Init.Prescaler = 0;
  htim1.Init.CounterMode = TIM_COUNTERMODE_UP;
  htim1.Init.Period = 4799;
  htim1.Init.ClockDivision = TIM_CLOCKDIVISION_DIV1;
  htim1.Init.RepetitionCounter = 0;
  htim1.Init.AutoReloadPreload = TIM_AUTORELOAD_PRELOAD_DISABLE;
  if (HAL_TIM_Base_Init(&htim1) != HAL_OK) {
    Error_Handler();
  }
  sClockSourceConfig.ClockSource = TIM_CLOCKSOURCE_INTERNAL;
  if (HAL_TIM_ConfigClockSource(&htim1, &sClockSourceConfig) != HAL_OK) {
    Error_Handler();
  }
  if (HAL_TIM_PWM_Init(&htim1) != HAL_OK) {
    Error_Handler();
  }
  sMasterConfig.MasterOutputTrigger = TIM_TRGO_RESET;
  sMasterConfig.MasterOutputTrigger2 = TIM_TRGO2_RESET;
  sMasterConfig.MasterSlaveMode = TIM_MASTERSLAVEMODE_DISABLE;
  if (HAL_TIMEx_MasterConfigSynchronization(&htim1, &sMasterConfig) != HAL_OK) {
    Error_Handler();
  }
  sConfigOC.OCMode = TIM_OCMODE_PWM1;
  sConfigOC.Pulse = 0;
  sConfigOC.OCPolarity = TIM_OCPOLARITY_HIGH;
  sConfigOC.OCNPolarity = TIM_OCNPOLARITY_HIGH;
  sConfigOC.OCFastMode = TIM_OCFAST_DISABLE;
  sConfigOC.OCIdleState = TIM_OCIDLESTATE_RESET;
  sConfigOC.OCNIdleState = TIM_OCNIDLESTATE_RESET;
  if (HAL_TIM_PWM_ConfigChannel(&htim1, &sConfigOC, TIM_CHANNEL_2) != HAL_OK) {
    Error_Handler();
  }
  if (HAL_TIM_PWM_ConfigChannel(&htim1, &sConfigOC, TIM_CHANNEL_3) != HAL_OK) {
    Error_Handler();
  }
  if (HAL_TIM_PWM_ConfigChannel(&htim1, &sConfigOC, TIM_CHANNEL_4) != HAL_OK) {
    Error_Handler();
  }
  sBreakDeadTimeConfig.OffStateRunMode = TIM_OSSR_DISABLE;
  sBreakDeadTimeConfig.OffStateIDLEMode = TIM_OSSI_DISABLE;
  sBreakDeadTimeConfig.LockLevel = TIM_LOCKLEVEL_OFF;
  sBreakDeadTimeConfig.DeadTime = 0;
  sBreakDeadTimeConfig.BreakState = TIM_BREAK_DISABLE;
  sBreakDeadTimeConfig.BreakPolarity = TIM_BREAKPOLARITY_HIGH;
  sBreakDeadTimeConfig.BreakFilter = 0;
  sBreakDeadTimeConfig.Break2State = TIM_BREAK2_DISABLE;
  sBreakDeadTimeConfig.Break2Polarity = TIM_BREAK2POLARITY_HIGH;
  sBreakDeadTimeConfig.Break2Filter = 0;
  sBreakDeadTimeConfig.AutomaticOutput = TIM_AUTOMATICOUTPUT_DISABLE;
  if (HAL_TIMEx_ConfigBreakDeadTime(&htim1, &sBreakDeadTimeConfig) != HAL_OK) {
    Error_Handler();
  }
  HAL_TIM_MspPostInit(&htim1);
}

static void MX_TIM2_Init(void) {

  TIM_ClockConfigTypeDef sClockSourceConfig = {0};
  TIM_MasterConfigTypeDef sMasterConfig = {0};

  htim2.Instance = TIM2;
  htim2.Init.Prescaler = 119;
  htim2.Init.CounterMode = TIM_COUNTERMODE_UP;
  htim2.Init.Period = 0xFFFFFFFF;
  htim2.Init.ClockDivision = TIM_CLOCKDIVISION_DIV1;
  htim2.Init.AutoReloadPreload = TIM_AUTORELOAD_PRELOAD_DISABLE;
  if (HAL_TIM_Base_Init(&htim2) != HAL_OK) {
    Error_Handler();
  }
  sClockSourceConfig.ClockSource = TIM_CLOCKSOURCE_INTERNAL;
  if (HAL_TIM_ConfigClockSource(&htim2, &sClockSourceConfig) != HAL_OK) {
    Error_Handler();
  }
  sMasterConfig.MasterOutputTrigger = TIM_TRGO_RESET;
  sMasterConfig.MasterSlaveMode = TIM_MASTERSLAVEMODE_DISABLE;
  if (HAL_TIMEx_MasterConfigSynchronization(&htim2, &sMasterConfig) != HAL_OK) {
    Error_Handler();
  }
}

static void MX_TIM3_Init(void) {

  TIM_ClockConfigTypeDef sClockSourceConfig = {0};
  TIM_MasterConfigTypeDef sMasterConfig = {0};
  TIM_OC_InitTypeDef sConfigOC = {0};

  htim3.Instance = TIM3;
  htim3.Init.Prescaler = 0;
  htim3.Init.CounterMode = TIM_COUNTERMODE_UP;
  htim3.Init.Period = 4799;
  htim3.Init.ClockDivision = TIM_CLOCKDIVISION_DIV1;
  htim3.Init.AutoReloadPreload = TIM_AUTORELOAD_PRELOAD_DISABLE;
  if (HAL_TIM_Base_Init(&htim3) != HAL_OK) {
    Error_Handler();
  }
  sClockSourceConfig.ClockSource = TIM_CLOCKSOURCE_INTERNAL;
  if (HAL_TIM_ConfigClockSource(&htim3, &sClockSourceConfig) != HAL_OK) {
    Error_Handler();
  }
  if (HAL_TIM_PWM_Init(&htim3) != HAL_OK) {
    Error_Handler();
  }
  sMasterConfig.MasterOutputTrigger = TIM_TRGO_RESET;
  sMasterConfig.MasterSlaveMode = TIM_MASTERSLAVEMODE_DISABLE;
  if (HAL_TIMEx_MasterConfigSynchronization(&htim3, &sMasterConfig) != HAL_OK) {
    Error_Handler();
  }
  sConfigOC.OCMode = TIM_OCMODE_PWM1;
  sConfigOC.Pulse = 0;
  sConfigOC.OCPolarity = TIM_OCPOLARITY_HIGH;
  sConfigOC.OCFastMode = TIM_OCFAST_DISABLE;
  if (HAL_TIM_PWM_ConfigChannel(&htim3, &sConfigOC, TIM_CHANNEL_1) != HAL_OK) {
    Error_Handler();
  }
  if (HAL_TIM_PWM_ConfigChannel(&htim3, &sConfigOC, TIM_CHANNEL_4) != HAL_OK) {
    Error_Handler();
  }
  HAL_TIM_MspPostInit(&htim3);
}

static void MX_TIM4_Init(void) {

  TIM_MasterConfigTypeDef sMasterConfig = {0};
  TIM_OC_InitTypeDef sConfigOC = {0};

  htim4.Instance = TIM4;
  htim4.Init.Prescaler = 0;
  htim4.Init.CounterMode = TIM_COUNTERMODE_UP;
  htim4.Init.Period = 4799;
  htim4.Init.ClockDivision = TIM_CLOCKDIVISION_DIV1;
  htim4.Init.AutoReloadPreload = TIM_AUTORELOAD_PRELOAD_DISABLE;
  if (HAL_TIM_PWM_Init(&htim4) != HAL_OK) {
    Error_Handler();
  }
  sMasterConfig.MasterOutputTrigger = TIM_TRGO_RESET;
  sMasterConfig.MasterSlaveMode = TIM_MASTERSLAVEMODE_DISABLE;
  if (HAL_TIMEx_MasterConfigSynchronization(&htim4, &sMasterConfig) != HAL_OK) {
    Error_Handler();
  }
  sConfigOC.OCMode = TIM_OCMODE_PWM1;
  sConfigOC.Pulse = 0;
  sConfigOC.OCPolarity = TIM_OCPOLARITY_HIGH;
  sConfigOC.OCFastMode = TIM_OCFAST_DISABLE;
  if (HAL_TIM_PWM_ConfigChannel(&htim4, &sConfigOC, TIM_CHANNEL_1) != HAL_OK) {
    Error_Handler();
  }
  HAL_TIM_MspPostInit(&htim4);
}

static void MX_GPIO_Init(void) {
  GPIO_InitTypeDef GPIO_InitStruct = {0};

  /* GPIO Ports Clock Enable */
  __HAL_RCC_GPIOC_CLK_ENABLE();
  __HAL_RCC_GPIOF_CLK_ENABLE();
  __HAL_RCC_GPIOH_CLK_ENABLE();
  __HAL_RCC_GPIOA_CLK_ENABLE();
  __HAL_RCC_GPIOB_CLK_ENABLE();
  __HAL_RCC_GPIOE_CLK_ENABLE();
  __HAL_RCC_GPIOD_CLK_ENABLE();
  __HAL_RCC_GPIOG_CLK_ENABLE();

  /*Configure GPIO pin Output Level */
  HAL_GPIO_WritePin(GPIOF, WPDS18B20_Pin | EDS18B20_Pin, GPIO_PIN_RESET);

  /*Configure GPIO pin Output Level */
  HAL_GPIO_WritePin(
      GPIOE, heater_Pin | cooler_Pin | pHDown_Pin | pHUp_Pin | FloraMicro_Pin,
      GPIO_PIN_RESET);

  /*Configure GPIO pin Output Level */
  HAL_GPIO_WritePin(GPIOB, FloraBloom_Pin | FloraGrow_Pin, GPIO_PIN_RESET);

  /*Configure GPIO pin Output Level */
  HAL_GPIO_WritePin(waterLevelSensorPower_GPIO_Port, waterLevelSensorPower_Pin,
                    GPIO_PIN_RESET);

  /*Configure GPIO pin Output Level */
  HAL_GPIO_WritePin(GPIOG, RSX_Pin | CDX_Pin | CSX_Pin | WRX_Pin,
                    GPIO_PIN_RESET);

  /*Configure GPIO pin Output Level */
  HAL_GPIO_WritePin(GPIOD,
                    D0_Pin | D1_Pin | D2_Pin | D3_Pin | D4_Pin | D5_Pin |
                        D6_Pin | D7_Pin,
                    GPIO_PIN_RESET);

  /*Configure GPIO pins : WPDS18B20_Pin EDS18B20_Pin */
  GPIO_InitStruct.Pin = WPDS18B20_Pin | EDS18B20_Pin;
  GPIO_InitStruct.Mode = GPIO_MODE_OUTPUT_PP;
  GPIO_InitStruct.Pull = GPIO_NOPULL;
  GPIO_InitStruct.Speed = GPIO_SPEED_FREQ_LOW;
  HAL_GPIO_Init(GPIOF, &GPIO_InitStruct);

  /*Configure GPIO pins : heater_Pin cooler_Pin pHDown_Pin pHUp_Pin
                           FloraMicro_Pin */
  GPIO_InitStruct.Pin =
      heater_Pin | cooler_Pin | pHDown_Pin | pHUp_Pin | FloraMicro_Pin;
  GPIO_InitStruct.Mode = GPIO_MODE_OUTPUT_PP;
  GPIO_InitStruct.Pull = GPIO_NOPULL;
  GPIO_InitStruct.Speed = GPIO_SPEED_FREQ_LOW;
  HAL_GPIO_Init(GPIOE, &GPIO_InitStruct);

  /*Configure GPIO pins : FloraBloom_Pin FloraGrow_Pin */
  GPIO_InitStruct.Pin = FloraBloom_Pin | FloraGrow_Pin;
  GPIO_InitStruct.Mode = GPIO_MODE_OUTPUT_PP;
  GPIO_InitStruct.Pull = GPIO_NOPULL;
  GPIO_InitStruct.Speed = GPIO_SPEED_FREQ_LOW;
  HAL_GPIO_Init(GPIOB, &GPIO_InitStruct);

  /*Configure GPIO pin : waterLevelSensorPower_Pin */
  GPIO_InitStruct.Pin = waterLevelSensorPower_Pin;
  GPIO_InitStruct.Mode = GPIO_MODE_OUTPUT_PP;
  GPIO_InitStruct.Pull = GPIO_NOPULL;
  GPIO_InitStruct.Speed = GPIO_SPEED_FREQ_LOW;
  HAL_GPIO_Init(waterLevelSensorPower_GPIO_Port, &GPIO_InitStruct);

  /*Configure GPIO pins : RSX_Pin CDX_Pin CSX_Pin WRX_Pin */
  GPIO_InitStruct.Pin = RSX_Pin | CDX_Pin | CSX_Pin | WRX_Pin;
  GPIO_InitStruct.Mode = GPIO_MODE_OUTPUT_PP;
  GPIO_InitStruct.Pull = GPIO_NOPULL;
  GPIO_InitStruct.Speed = GPIO_SPEED_FREQ_LOW;
  HAL_GPIO_Init(GPIOG, &GPIO_InitStruct);

  /*Configure GPIO pins : D0_Pin D1_Pin D2_Pin D3_Pin
                           D4_Pin D5_Pin D6_Pin D7_Pin */
  GPIO_InitStruct.Pin =
      D0_Pin | D1_Pin | D2_Pin | D3_Pin | D4_Pin | D5_Pin | D6_Pin | D7_Pin;
  GPIO_InitStruct.Mode = GPIO_MODE_OUTPUT_PP;
  GPIO_InitStruct.Pull = GPIO_NOPULL;
  GPIO_InitStruct.Speed = GPIO_SPEED_FREQ_LOW;
  HAL_GPIO_Init(GPIOD, &GPIO_InitStruct);

}

void Error_Handler(void) {
  /* USER CODE BEGIN Error_Handler_Debug */
  /* User can add his own implementation to report the HAL error return state
   */
  __disable_irq();
  while (1) {
  }
  /* USER CODE END Error_Handler_Debug */
}
#ifdef USE_FULL_ASSERT
/**
 * @brief  Reports the name of the source file and the source line number
 *         where the assert_param error has occurred.
 * @param  file: pointer to the source file name
 * @param  line: assert_param error line source number
 * @retval None
 */
void assert_failed(uint8_t *file, uint32_t line) {
  /* USER CODE BEGIN 6 */
  /* User can add his own implementation to report the file name and line
     number */
  /* USER CODE END 6 */
}
#endif /* USE_FULL_ASSERT */
